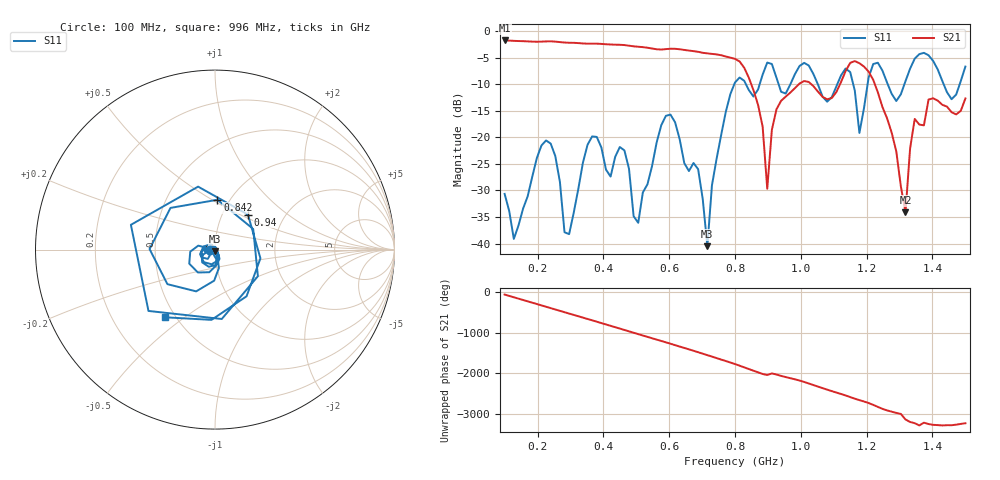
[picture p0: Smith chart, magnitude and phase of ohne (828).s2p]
! NanoVNA-App
! Date: 2025-09-25 14:27:14
! Start: 100MHz Stop: 1,5GHz Points: 101
! S-Parameter data: F S11 S21 S12 S22
# Hz S RI R 50
!  Frequency  S11_Real  S11_Imag  S21_Real  S21_Imag  S12_Real  S12_Imag  S22_Real  S22_Imag
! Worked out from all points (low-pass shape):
!   101 points, 100 MHz to 1.5 GHz, reference 50 ohm
!   highest |S21| = -1.79 dB at 100 MHz (marker M1); lowest = -34.1 dB at 1.318 GHz (marker M2)
!   |S21| within 3 dB of the highest: start of sweep to 771 MHz
!   lowest |S11| = -40.5 dB at 716 MHz (marker M3), VSWR 1.02, Z = 49.7 - j0.902 ohm
!   |S11| at or under -10 dB: start of sweep to 798 MHz; 833 MHz to 875.1 MHz (42.07 MHz wide, 4.93 % of centre); 1.052 GHz to 1.111 GHz (59.43 MHz wide, 5.5 % of centre) (the widest 3 of 7)
!   S12 and S22 are empty: the file has one direction only
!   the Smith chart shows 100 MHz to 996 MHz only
!   S11 on the Smith chart (normalised r, x): 100 MHz: 0.94, -0.01; 842 MHz: 0.88, +0.53; 940 MHz: 1.32, +0.55; 996 MHz: 0.44, -0.43
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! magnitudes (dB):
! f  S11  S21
! 100 MHz  -30.6  -1.8
! 128 MHz  -39.1  -1.9
! 226 MHz  -20.6  -2.0
! 296 MHz  -38.2  -2.2
! 338 MHz  -24.8  -2.4
! 464 MHz  -22.5  -2.7
! 506 MHz  -36.1  -3.0
! 576 MHz  -17.7  -3.5
! 688 MHz  -26.0  -3.9
! 716 MHz  -40.5  -4.2
! 800 MHz  -9.7  -5.3
! 842 MHz  -11.1  -8.8
! 898 MHz  -5.9  -29.7
! 940 MHz  -11.4  -13.1
! 996 MHz  -6.6  -9.9
! 1.038 GHz  -8.1  -10.4
! 1.178 GHz  -19.2  -6.1
! 1.22 GHz  -6.2  -9.2
! 1.276 GHz  -11.8  -19.1
! 1.318 GHz  -9.4  -34.1
! 1.346 GHz  -5.2  -16.6
! 1.5 GHz  -6.7  -12.7
